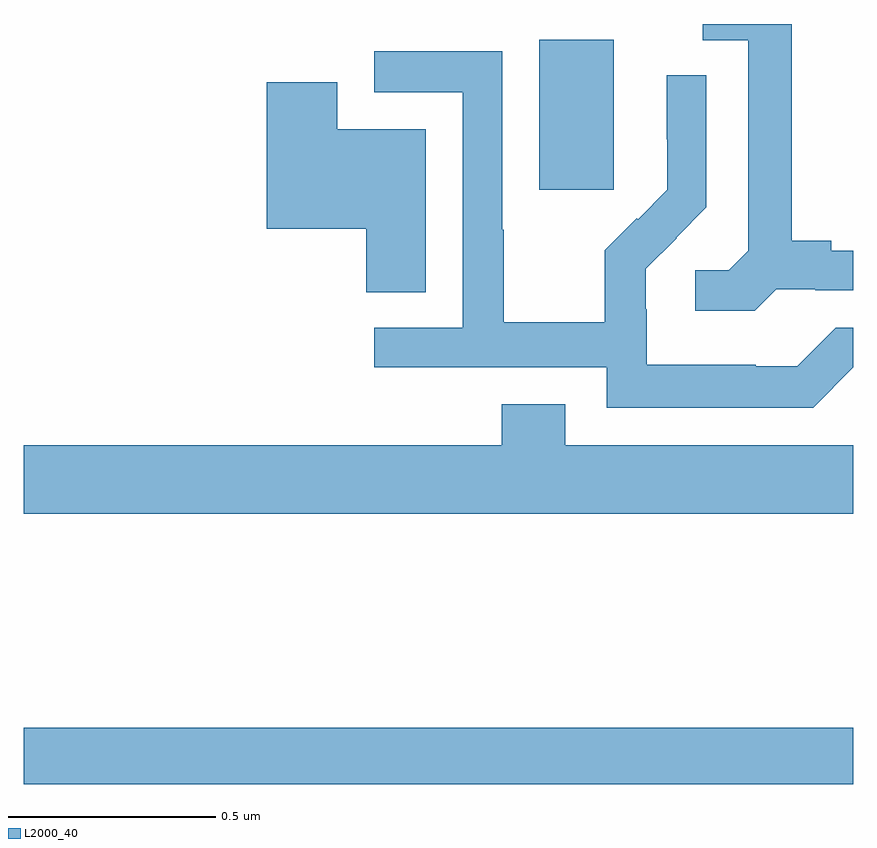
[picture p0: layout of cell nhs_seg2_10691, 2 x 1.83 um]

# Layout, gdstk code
import gdstk
lib = gdstk.Library(unit=1e-6, precision=1e-09)
def R(c, l, rs):  # rectangles x0, y0, x1, y1
    for r in rs: c.add(gdstk.rectangle(r[:2], r[2:], *l))
def P(c, l, *ps):  # polygons
    for p in ps: c.add(gdstk.Polygon(p, *l))
L2000_40 = (2000, 40)

nhs_seg2_10691 = lib.new_cell('nhs_seg2_10691')
R(nhs_seg2_10691, L2000_40, [(244,662.968,246,663.104), (245.243,664.401,245.422,664.762)])
P(nhs_seg2_10691, L2000_40, [(245.814,664.161),(245.908,664.161),(245.908,664.158),(246,664.158),(246,664.254),(245.947,664.254),(245.947,664.277),(245.851,664.277),(245.851,664.8),(245.637,664.8),(245.637,664.761),(245.747,664.761),(245.747,664.253),(245.7,664.206),(245.619,664.206),(245.619,664.109),(245.762,664.109)],
  [(246,663.972),(246,664.068),(245.958,664.068),(245.865,663.975),(245.765,663.975),(245.765,663.979),(245.502,663.979),(245.502,664.113),(245.5,664.113),(245.5,664.21),(245.574,664.284),(245.573,664.285),(245.646,664.358),(245.646,664.676),(245.55,664.676),(245.55,664.522),(245.552,664.522),(245.552,664.4),(245.481,664.329),(245.478,664.332),(245.401,664.255),(245.401,664.081),(245.157,664.081),(245.157,664.304),(245.154,664.304),(245.154,664.734),(244.845,664.734),(244.845,664.635),(245.058,664.635),(245.058,664.068),(244.845,664.068),(244.845,663.972),(245.406,663.972),(245.406,663.875),(245.903,663.875)],
  [(244.969,664.546),(244.756,664.546),(244.756,664.66),(244.586,664.66),(244.586,664.307),(244.826,664.307),(244.826,664.153),(244.969,664.153)],
  [(246,663.784),(245.305,663.784),(245.305,663.883),(245.153,663.883),(245.153,663.784),(244,663.784),(244,663.62),(246,663.62)])

lib.write_gds('nhs_seg2_10691.gds')
